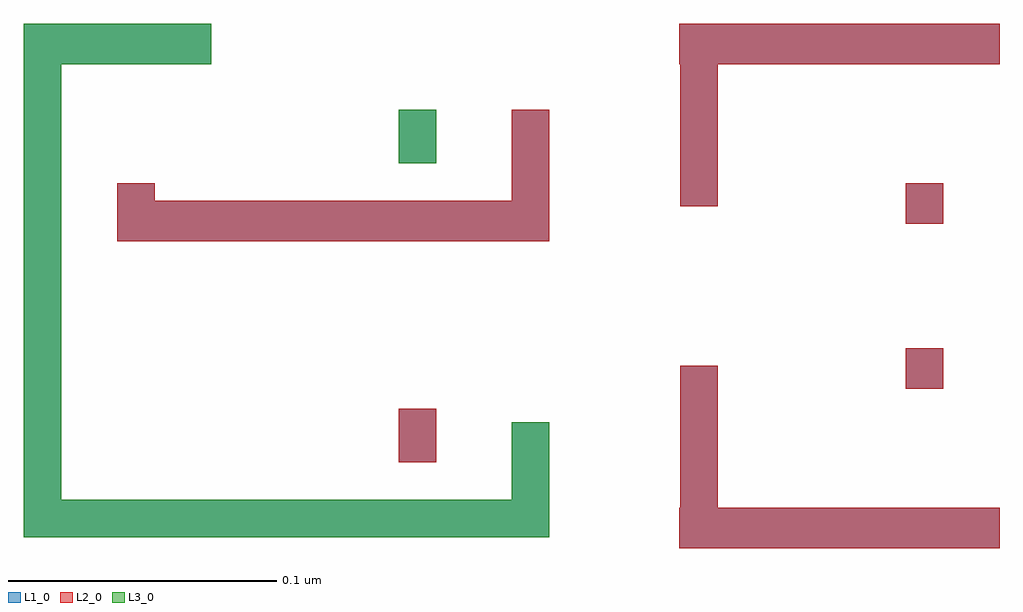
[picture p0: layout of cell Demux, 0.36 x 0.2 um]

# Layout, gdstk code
import gdstk
lib = gdstk.Library(unit=1e-6, precision=5e-10)
def R(c, l, rs):  # rectangles x0, y0, x1, y1
    for r in rs: c.add(gdstk.rectangle(r[:2], r[2:], *l))
def P(c, l, *ps):  # polygons
    for p in ps: c.add(gdstk.Polygon(p, *l))
L1_0 = (1, 0)
L2_0 = (2, 0)
L3_0 = (3, 0)

inv = lib.new_cell('inv')
R(inv, L1_0, [(0.0695,0.039,0.0835,0.054), (0.0485,0.0985,0.1045,0.1135)])

nand = lib.new_cell('nand')
R(nand, L1_0, [(0.258,0.1025,0.272,0.1675), (0.153,0.1235,0.167,0.1385), (0.195,0.1235,0.209,0.1385)])

demux = lib.new_cell('Demux')
R(demux, L1_0, [(0.279,0.0335,0.3425,0.0485), (0.1745,0.0655,0.1885,0.0855), (0.1745,0.177,0.1885,0.197), (0.279,0.214,0.3425,0.229)])
P(demux, L1_0, [(0.2305,0.197),(0.2305,0.148),(0.0695,0.148),(0.0695,0.163),(0.2165,0.163),(0.2165,0.197)],
  [(0.0485,0.229),(0.0485,0.0515),(0.2165,0.0515),(0.2165,0.0805),(0.2305,0.0805),(0.2305,0.0375),(0.0345,0.0375),(0.0345,0.229)])
R(demux, L2_0, [(0.1745,0.0655,0.1885,0.0855), (0.3635,0.093,0.3775,0.108), (0.3635,0.1545,0.3775,0.1695)])
P(demux, L2_0, [(0.3985,0.229),(0.3985,0.214),(0.2935,0.214),(0.2935,0.161),(0.2795,0.161),(0.2795,0.214),(0.279,0.214),(0.279,0.229)],
  [(0.2935,0.1015),(0.2935,0.0485),(0.3985,0.0485),(0.3985,0.0335),(0.279,0.0335),(0.279,0.0485),(0.2795,0.0485),(0.2795,0.1015)],
  [(0.2305,0.197),(0.2305,0.148),(0.0695,0.148),(0.0695,0.1695),(0.0835,0.1695),(0.0835,0.163),(0.2165,0.163),(0.2165,0.197)])
R(demux, L3_0, [(0.1745,0.177,0.1885,0.197)])
P(demux, L3_0, [(0.1045,0.229),(0.1045,0.214),(0.0485,0.214),(0.0485,0.0515),(0.2165,0.0515),(0.2165,0.0805),(0.2305,0.0805),(0.2305,0.0375),(0.0345,0.0375),(0.0345,0.229)])
demux.add(gdstk.Reference(inv, (0,0.1155)))
demux.add(gdstk.Reference(inv, (0.294,0.1155)))
demux.add(gdstk.Reference(inv, (0.294,0.147), x_reflection=True))
demux.add(gdstk.Reference(nand, (0.0215,0.0585)))
demux.add(gdstk.Reference(nand, (0.0215,0.204), x_reflection=True))

lib.write_gds('Demux.gds')
